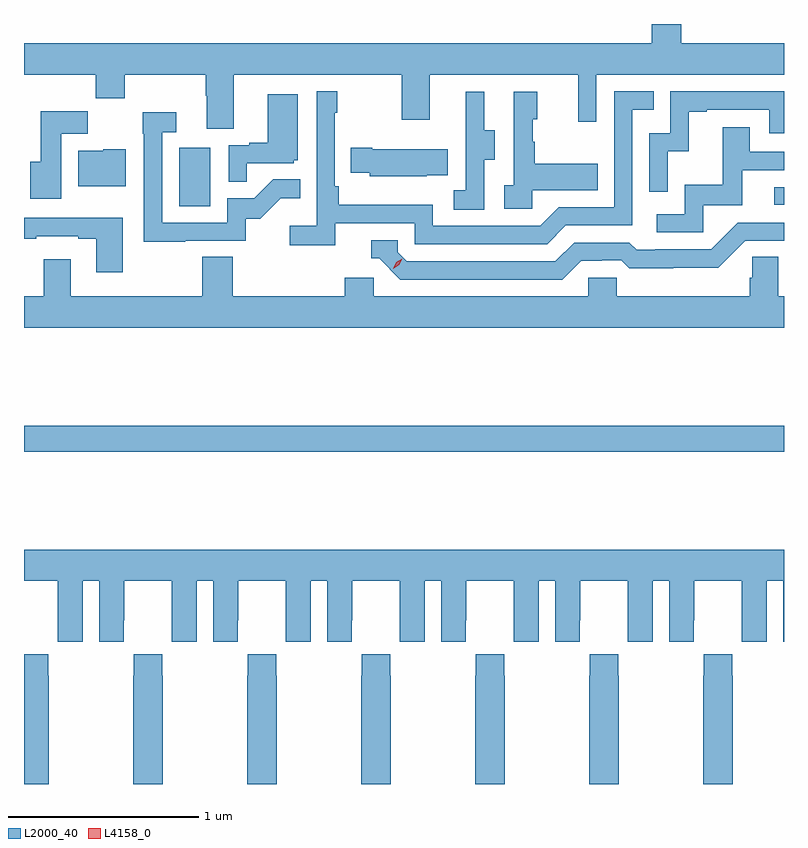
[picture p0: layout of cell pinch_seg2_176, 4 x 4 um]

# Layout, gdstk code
import gdstk
lib = gdstk.Library(unit=1e-6, precision=1e-09)
def R(c, l, rs):  # rectangles x0, y0, x1, y1
    for r in rs: c.add(gdstk.rectangle(r[:2], r[2:], *l))
def P(c, l, *ps):  # polygons
    for p in ps: c.add(gdstk.Polygon(p, *l))
L2000_40 = (2000, 40)
L4158_0 = (4158, 0)

pinch_seg2_176 = lib.new_cell('pinch_seg2_176')
R(pinch_seg2_176, L2000_40, [(1106.228,631,1110.228,631.136), (1107.044,632.292,1107.208,632.599), (1110.177,632.298,1110.228,632.391)])
P(pinch_seg2_176, L2000_40, [(1106.228,632.984),(1106.605,632.984),(1106.605,632.86),(1106.757,632.86),(1106.757,632.984),(1107.184,632.984),(1107.184,632.872),(1107.191,632.872),(1107.191,632.698),(1107.331,632.698),(1107.331,632.984),(1108.216,632.984),(1108.216,632.745),(1108.363,632.745),(1108.363,632.984),(1109.144,632.984),(1109.144,632.736),(1109.241,632.736),(1109.241,632.984),(1110.228,632.984),(1110.228,633.148),(1109.687,633.148),(1109.687,633.25),(1109.531,633.25),(1109.531,633.148),(1106.228,633.148)],
  [(1107.866,632.202),(1108.284,632.202),(1108.284,632.091),(1108.981,632.091),(1109.08,632.19),(1109.43,632.19),(1109.43,632.799),(1109.543,632.799),(1109.543,632.895),(1109.334,632.895),(1109.334,632.286),(1109.043,632.286),(1108.944,632.187),(1108.38,632.187),(1108.38,632.299),(1107.884,632.299),(1107.884,632.395),(1107.864,632.395),(1107.864,632.783),(1107.877,632.783),(1107.877,632.896),(1107.768,632.896),(1107.768,632.188),(1107.627,632.188),(1107.627,632.086),(1107.866,632.086)],
  [(1109.616,632.579),(1109.726,632.579),(1109.726,632.787),(1109.821,632.787),(1109.821,632.799),(1110.15,632.799),(1110.15,632.676),(1110.228,632.676),(1110.228,632.895),(1109.628,632.895),(1109.628,632.676),(1109.52,632.676),(1109.52,632.367),(1109.616,632.367)],
  [(1108.902,632.375),(1109.249,632.375),(1109.249,632.515),(1108.915,632.515),(1108.915,632.63),(1108.905,632.63),(1108.905,632.748),(1108.93,632.748),(1108.93,632.893),(1108.806,632.893),(1108.806,632.402),(1108.755,632.402),(1108.755,632.277),(1108.902,632.277)],
  [(1108.65,632.536),(1108.705,632.536),(1108.705,632.691),(1108.651,632.691),(1108.651,632.893),(1108.553,632.893),(1108.553,632.679),(1108.554,632.679),(1108.554,632.375),(1108.491,632.375),(1108.491,632.272),(1108.65,632.272)],
  [(1107.401,632.517),(1107.648,632.517),(1107.648,632.532),(1107.67,632.532),(1107.67,632.881),(1107.512,632.881),(1107.512,632.626),(1107.413,632.626),(1107.413,632.613),(1107.306,632.613),(1107.306,632.419),(1107.401,632.419)],
  [(1106.425,632.672),(1106.564,632.672),(1106.564,632.791),(1106.315,632.791),(1106.315,632.524),(1106.261,632.524),(1106.261,632.331),(1106.425,632.331)],
  [(1107.077,632.109),(1107.396,632.109),(1107.396,632.226),(1107.472,632.226),(1107.579,632.333),(1107.683,632.333),(1107.683,632.432),(1107.539,632.432),(1107.441,632.334),(1107.297,632.334),(1107.297,632.205),(1106.955,632.205),(1106.955,632.679),(1107.028,632.679),(1107.028,632.785),(1106.854,632.785),(1106.854,632.672),(1106.859,632.672),(1106.859,632.104),(1107.077,632.104)],
  [(1109.802,632.295),(1110.007,632.295),(1110.007,632.481),(1110.228,632.481),(1110.228,632.577),(1110.049,632.577),(1110.049,632.707),(1109.905,632.707),(1109.905,632.404),(1109.706,632.404),(1109.706,632.25),(1109.559,632.25),(1109.559,632.154),(1109.802,632.154)],
  [(1108.349,632.453),(1108.457,632.453),(1108.457,632.59),(1108.06,632.59),(1108.06,632.598),(1107.949,632.598),(1107.949,632.468),(1108.047,632.468),(1108.047,632.45),(1108.349,632.45)],
  [(1106.764,632.59),(1106.646,632.59),(1106.646,632.584),(1106.513,632.584),(1106.513,632.396),(1106.764,632.396)],
  [(1106.749,632.23),(1106.521,632.23),(1106.521,632.229),(1106.228,632.229),(1106.228,632.121),(1106.293,632.121),(1106.293,632.133),(1106.513,632.133),(1106.513,632.121),(1106.609,632.121),(1106.609,631.944),(1106.749,631.944)],
  [(1109.161,632.004),(1109.268,632.004),(1109.268,632.007),(1109.371,632.007),(1109.413,631.965),(1109.646,631.965),(1109.646,631.967),(1109.882,631.967),(1110.024,632.109),(1110.228,632.109),(1110.228,632.205),(1109.985,632.205),(1109.844,632.064),(1109.551,632.064),(1109.551,632.061),(1109.452,632.061),(1109.413,632.1),(1109.124,632.1),(1109.025,632.001),(1108.242,632.001),(1108.194,632.049),(1108.194,632.112),(1108.055,632.112),(1108.055,632.016),(1108.098,632.016),(1108.209,631.905),(1109.062,631.905)],
  [(1110.228,631.816),(1110.198,631.816),(1110.198,632.024),(1110.061,632.024),(1110.061,631.914),(1110.047,631.914),(1110.047,631.816),(1109.349,631.816),(1109.349,631.914),(1109.199,631.914),(1109.199,631.816),(1108.068,631.816),(1108.068,631.914),(1107.917,631.914),(1107.917,631.816),(1107.326,631.816),(1107.326,632.024),(1107.166,632.024),(1107.166,631.816),(1106.473,631.816),(1106.473,632.011),(1106.333,632.011),(1106.333,631.816),(1106.228,631.816),(1106.228,631.652),(1110.228,631.652)],
  [(1106.536,630.32),(1106.624,630.32),(1106.624,630),(1106.754,630),(1106.754,630.112),(1106.755,630.112),(1106.755,630.32),(1107.005,630.32),(1107.005,630.112),(1107.006,630.112),(1107.006,630),(1107.136,630),(1107.136,630.32),(1107.224,630.32),(1107.224,630),(1107.354,630),(1107.354,630.112),(1107.355,630.112),(1107.355,630.32),(1107.605,630.32),(1107.605,630.112),(1107.606,630.112),(1107.606,630),(1107.736,630),(1107.736,630.32),(1107.824,630.32),(1107.824,630),(1107.954,630),(1107.954,630.112),(1107.955,630.112),(1107.955,630.32),(1108.205,630.32),(1108.205,630.112),(1108.206,630.112),(1108.206,630),(1108.336,630),(1108.336,630.32),(1108.424,630.32),(1108.424,630),(1108.554,630),(1108.554,630.112),(1108.555,630.112),(1108.555,630.32),(1108.805,630.32),(1108.805,630.112),(1108.806,630.112),(1108.806,630),(1108.936,630),(1108.936,630.32),(1109.024,630.32),(1109.024,630),(1109.154,630),(1109.154,630.112),(1109.155,630.112),(1109.155,630.32),(1109.405,630.32),(1109.405,630.112),(1109.406,630.112),(1109.406,630),(1109.536,630),(1109.536,630.32),(1109.624,630.32),(1109.624,630),(1109.754,630),(1109.754,630.112),(1109.755,630.112),(1109.755,630.32),(1110.005,630.32),(1110.005,630.112),(1110.006,630.112),(1110.006,630),(1110.136,630),(1110.136,630.32),(1110.224,630.32),(1110.224,630),(1110.228,630),(1110.228,630.484),(1106.228,630.484),(1106.228,630.32),(1106.405,630.32),(1106.405,630.112),(1106.406,630.112),(1106.406,630),(1106.536,630)],
  [(1109.958,629.819),(1109.955,629.819),(1109.955,629.932),(1109.805,629.932),(1109.805,629.819),(1109.803,629.819),(1109.803,629.25),(1109.958,629.25)],
  [(1109.358,629.819),(1109.355,629.819),(1109.355,629.932),(1109.205,629.932),(1109.205,629.819),(1109.203,629.819),(1109.203,629.25),(1109.358,629.25)],
  [(1108.758,629.819),(1108.755,629.819),(1108.755,629.932),(1108.605,629.932),(1108.605,629.819),(1108.603,629.819),(1108.603,629.25),(1108.758,629.25)],
  [(1108.158,629.819),(1108.155,629.819),(1108.155,629.932),(1108.005,629.932),(1108.005,629.819),(1108.003,629.819),(1108.003,629.25),(1108.158,629.25)],
  [(1107.558,629.819),(1107.555,629.819),(1107.555,629.932),(1107.405,629.932),(1107.405,629.819),(1107.403,629.819),(1107.403,629.25),(1107.558,629.25)],
  [(1106.958,629.819),(1106.955,629.819),(1106.955,629.932),(1106.805,629.932),(1106.805,629.819),(1106.803,629.819),(1106.803,629.25),(1106.958,629.25)],
  [(1106.358,629.819),(1106.355,629.819),(1106.355,629.932),(1106.228,629.932),(1106.228,629.25),(1106.358,629.25)])
P(pinch_seg2_176, L4158_0, [(1108.172,631.962),(1108.172,631.962),(1108.187,631.995),(1108.218,632.015),(1108.218,632.015),(1108.218,632.015),(1108.202,631.982),(1108.172,631.962)])

lib.write_gds('pinch_seg2_176.gds')
